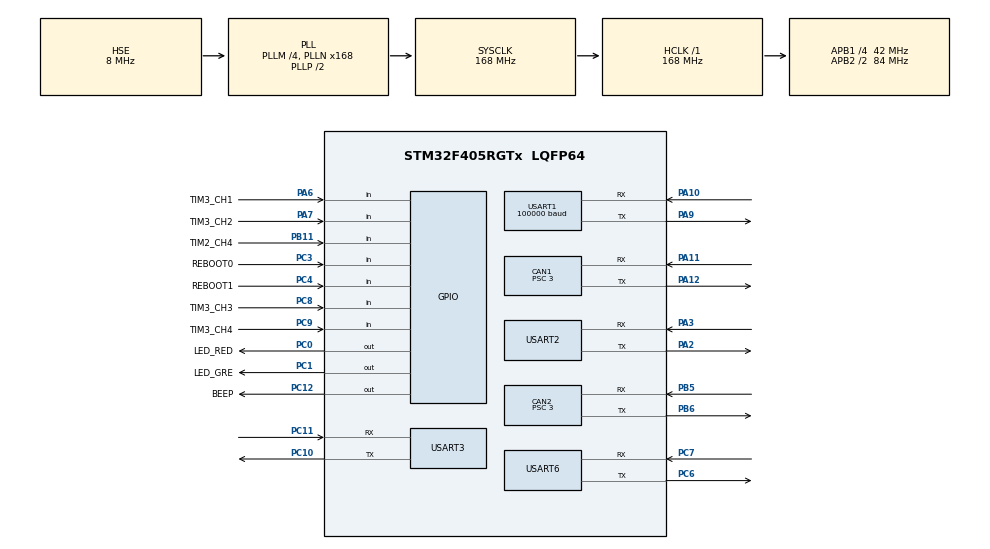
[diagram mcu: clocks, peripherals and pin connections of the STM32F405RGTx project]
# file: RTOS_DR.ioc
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CAN1.BS1=CAN_BS1_7TQ
CAN1.BS2=CAN_BS2_6TQ
CAN1.CalculateTimeQuantum=71.42857142857143
CAN1.Prescaler=3
CAN2.BS1=CAN_BS1_7TQ
CAN2.BS2=CAN_BS2_6TQ
CAN2.CalculateTimeQuantum=71.42857142857143
CAN2.Prescaler=3
Dma.Request0=USART2_RX
Dma.Request1=USART2_TX
Dma.Request2=USART1_RX
Dma.Request3=USART3_RX
Dma.Request4=USART3_TX
Dma.Request5=USART6_RX
Dma.Request6=USART6_TX
Dma.USART1_RX.2.Direction=DMA_PERIPH_TO_MEMORY
Dma.USART1_RX.2.FIFOMode=DMA_FIFOMODE_DISABLE
Dma.USART1_RX.2.Instance=DMA2_Stream2
Dma.USART1_RX.2.MemDataAlignment=DMA_MDATAALIGN_BYTE
Dma.USART1_RX.2.MemInc=DMA_MINC_ENABLE
Dma.USART1_RX.2.Mode=DMA_NORMAL
Dma.USART1_RX.2.PeriphDataAlignment=DMA_PDATAALIGN_BYTE
Dma.USART1_RX.2.PeriphInc=DMA_PINC_DISABLE
Dma.USART1_RX.2.Priority=DMA_PRIORITY_LOW
Dma.USART2_RX.0.Direction=DMA_PERIPH_TO_MEMORY
Dma.USART2_RX.0.FIFOMode=DMA_FIFOMODE_DISABLE
Dma.USART2_RX.0.Instance=DMA1_Stream5
Dma.USART2_RX.0.MemDataAlignment=DMA_MDATAALIGN_BYTE
Dma.USART2_RX.0.MemInc=DMA_MINC_ENABLE
Dma.USART2_RX.0.Mode=DMA_NORMAL
Dma.USART2_RX.0.PeriphDataAlignment=DMA_PDATAALIGN_BYTE
Dma.USART2_RX.0.PeriphInc=DMA_PINC_DISABLE
Dma.USART2_RX.0.Priority=DMA_PRIORITY_LOW
Dma.USART2_TX.1.Direction=DMA_MEMORY_TO_PERIPH
Dma.USART2_TX.1.FIFOMode=DMA_FIFOMODE_DISABLE
Dma.USART2_TX.1.Instance=DMA1_Stream6
Dma.USART2_TX.1.MemDataAlignment=DMA_MDATAALIGN_BYTE
Dma.USART2_TX.1.MemInc=DMA_MINC_ENABLE
Dma.USART2_TX.1.Mode=DMA_NORMAL
Dma.USART2_TX.1.PeriphDataAlignment=DMA_PDATAALIGN_BYTE
Dma.USART2_TX.1.PeriphInc=DMA_PINC_DISABLE
Dma.USART2_TX.1.Priority=DMA_PRIORITY_LOW
Dma.USART3_RX.3.Direction=DMA_PERIPH_TO_MEMORY
Dma.USART3_RX.3.FIFOMode=DMA_FIFOMODE_DISABLE
Dma.USART3_RX.3.Instance=DMA1_Stream1
Dma.USART3_RX.3.MemDataAlignment=DMA_MDATAALIGN_BYTE
Dma.USART3_RX.3.MemInc=DMA_MINC_ENABLE
Dma.USART3_RX.3.Mode=DMA_NORMAL
Dma.USART3_RX.3.PeriphDataAlignment=DMA_PDATAALIGN_BYTE
Dma.USART3_RX.3.PeriphInc=DMA_PINC_DISABLE
Dma.USART3_RX.3.Priority=DMA_PRIORITY_LOW
Dma.USART3_TX.4.Direction=DMA_MEMORY_TO_PERIPH
Dma.USART3_TX.4.FIFOMode=DMA_FIFOMODE_DISABLE
Dma.USART3_TX.4.Instance=DMA1_Stream3
Dma.USART3_TX.4.MemDataAlignment=DMA_MDATAALIGN_BYTE
Dma.USART3_TX.4.MemInc=DMA_MINC_ENABLE
Dma.USART3_TX.4.Mode=DMA_NORMAL
Dma.USART3_TX.4.PeriphDataAlignment=DMA_PDATAALIGN_BYTE
Dma.USART3_TX.4.PeriphInc=DMA_PINC_DISABLE
Dma.USART3_TX.4.Priority=DMA_PRIORITY_LOW
Dma.USART6_RX.5.Direction=DMA_PERIPH_TO_MEMORY
Dma.USART6_RX.5.FIFOMode=DMA_FIFOMODE_DISABLE
Dma.USART6_RX.5.Instance=DMA2_Stream1
Dma.USART6_RX.5.MemDataAlignment=DMA_MDATAALIGN_BYTE
Dma.USART6_RX.5.MemInc=DMA_MINC_ENABLE
Dma.USART6_RX.5.Mode=DMA_NORMAL
Dma.USART6_RX.5.PeriphDataAlignment=DMA_PDATAALIGN_BYTE
Dma.USART6_RX.5.PeriphInc=DMA_PINC_DISABLE
Dma.USART6_RX.5.Priority=DMA_PRIORITY_LOW
Dma.USART6_TX.6.Direction=DMA_MEMORY_TO_PERIPH
Dma.USART6_TX.6.FIFOMode=DMA_FIFOMODE_DISABLE
Dma.USART6_TX.6.Instance=DMA2_Stream6
Dma.USART6_TX.6.MemDataAlignment=DMA_MDATAALIGN_BYTE
Dma.USART6_TX.6.MemInc=DMA_MINC_ENABLE
Dma.USART6_TX.6.Mode=DMA_NORMAL
Dma.USART6_TX.6.PeriphDataAlignment=DMA_PDATAALIGN_BYTE
Dma.USART6_TX.6.PeriphInc=DMA_PINC_DISABLE
Dma.USART6_TX.6.Priority=DMA_PRIORITY_LOW
FREERTOS.Tasks01=defaultTask,-3,128,StartDefaultTask,Default,NULL,Dynamic,NULL,NULL;moveTask,0,128,MoveTask,Default,NULL,Dynamic,NULL,NULL;canSendTask,1,128,CanSendTask,Default,NULL,Dynamic,NULL,NULL;initTask,0,128,InitTask,Default,NULL,Dynamic,NULL,NULL
Mcu.Family=STM32F4
Mcu.Name=STM32F405RGTx
Mcu.Package=LQFP64
NVIC.CAN1_RX0_IRQn=true\:5\:0\:false\:false\:true\:true\:true\:true
NVIC.CAN2_RX0_IRQn=true\:5\:0\:false\:false\:true\:true\:true\:true
NVIC.DMA1_Stream1_IRQn=true\:5\:0\:false\:false\:true\:true\:false\:true
NVIC.DMA1_Stream3_IRQn=true\:5\:0\:false\:false\:true\:true\:false\:true
NVIC.DMA1_Stream5_IRQn=true\:5\:0\:false\:false\:true\:true\:false\:true
NVIC.DMA1_Stream6_IRQn=true\:5\:0\:false\:false\:true\:true\:false\:true
NVIC.DMA2_Stream1_IRQn=true\:5\:0\:false\:false\:true\:true\:false\:true
NVIC.DMA2_Stream2_IRQn=true\:5\:0\:false\:false\:true\:true\:false\:true
NVIC.DMA2_Stream6_IRQn=true\:5\:0\:false\:false\:true\:true\:false\:true
NVIC.PriorityGroup=NVIC_PRIORITYGROUP_4
NVIC.TIM1_UP_TIM10_IRQn=true\:0\:0\:false\:false\:true\:false\:false\:true
NVIC.TIM2_IRQn=true\:5\:0\:false\:false\:true\:true\:true\:true
NVIC.TIM3_IRQn=true\:5\:0\:false\:false\:true\:true\:true\:true
NVIC.TimeBase=TIM1_UP_TIM10_IRQn
NVIC.TimeBaseIP=TIM1
NVIC.USART1_IRQn=true\:5\:0\:false\:false\:true\:true\:true\:true
NVIC.USART2_IRQn=true\:5\:0\:false\:false\:true\:true\:true\:true
NVIC.USART3_IRQn=true\:5\:0\:false\:false\:true\:true\:true\:true
NVIC.USART6_IRQn=true\:5\:0\:false\:false\:true\:true\:true\:true
PA10.Mode=Asynchronous
PA10.Signal=USART1_RX
PA11.Mode=Master
PA11.Signal=CAN1_RX
PA12.Mode=Master
PA12.Signal=CAN1_TX
PA13.Mode=Serial_Wire
PA13.Signal=SYS_JTMS-SWDIO
PA14.Mode=Serial_Wire
PA14.Signal=SYS_JTCK-SWCLK
PA2.Mode=Asynchronous
PA2.Signal=USART2_TX
PA3.Mode=Asynchronous
PA3.Signal=USART2_RX
PA6.GPIO_Label=TIM3_CH1
PA6.Signal=GPIO_Input
PA7.GPIO_Label=TIM3_CH2
PA7.Signal=GPIO_Input
PA9.Mode=Asynchronous
PA9.Signal=USART1_TX
PB11.GPIO_Label=TIM2_CH4
PB11.Signal=GPIO_Input
PB5.Mode=Slave
PB5.Signal=CAN2_RX
PB6.Mode=Slave
PB6.Signal=CAN2_TX
PC0.GPIO_Label=LED_RED
PC0.PinState=GPIO_PIN_RESET
PC0.Signal=GPIO_Output
PC1.GPIO_Label=LED_GRE
PC1.PinState=GPIO_PIN_RESET
PC1.Signal=GPIO_Output
PC10.Mode=Asynchronous
PC10.Signal=USART3_TX
PC11.Mode=Asynchronous
PC11.Signal=USART3_RX
PC12.GPIO_Label=BEEP
PC12.GPIO_PuPd=GPIO_PULLDOWN
PC12.PinState=GPIO_PIN_RESET
PC12.Signal=GPIO_Output
PC3.GPIO_Label=REBOOT0
PC3.GPIO_PuPd=GPIO_PULLUP
PC3.Signal=GPIO_Input
PC4.GPIO_Label=REBOOT1
PC4.GPIO_PuPd=GPIO_PULLUP
PC4.Signal=GPIO_Input
PC6.Mode=Asynchronous
PC6.Signal=USART6_TX
PC7.Mode=Asynchronous
PC7.Signal=USART6_RX
PC8.GPIO_Label=TIM3_CH3
PC8.Signal=GPIO_Input
PC9.GPIO_Label=TIM3_CH4
PC9.GPIO_PuPd=GPIO_NOPULL
PC9.Signal=GPIO_Input
PH0-OSC_IN.Mode=HSE-External-Oscillator
PH0-OSC_IN.Signal=RCC_OSC_IN
PH1-OSC_OUT.Mode=HSE-External-Oscillator
PH1-OSC_OUT.Signal=RCC_OSC_OUT
ProjectManager.HeapSize=0x200
ProjectManager.StackSize=0x400
ProjectManager.TargetToolchain=MDK-ARM V5.27
RCC.48MHZClocksFreq_Value=84000000
RCC.AHBFreq_Value=168000000
RCC.APB1CLKDivider=RCC_HCLK_DIV4
RCC.APB1Freq_Value=42000000
RCC.APB1TimFreq_Value=84000000
RCC.APB2CLKDivider=RCC_HCLK_DIV2
RCC.APB2Freq_Value=84000000
RCC.APB2TimFreq_Value=168000000
RCC.CortexFreq_Value=168000000
RCC.HCLKFreq_Value=168000000
RCC.HSE_VALUE=8000000
RCC.HSI_VALUE=16000000
RCC.LSE_VALUE=32768
RCC.PLLM=4
RCC.PLLN=168
RCC.PLLSourceVirtual=RCC_PLLSOURCE_HSE
RCC.SYSCLKFreq_VALUE=168000000
RCC.SYSCLKSource=RCC_SYSCLKSOURCE_PLLCLK
RCC.VCOOutputFreq_Value=336000000
TIM2.AutoReloadPreload=TIM_AUTORELOAD_PRELOAD_ENABLE
TIM2.Period=499
TIM2.Prescaler=83
TIM3.AutoReloadPreload=TIM_AUTORELOAD_PRELOAD_ENABLE
TIM3.Period=999
TIM3.Prescaler=83
USART1.BaudRate=100000
USART1.Mode=MODE_RX
USART1.Parity=PARITY_EVEN
USART1.VirtualMode=VM_ASYNC
USART1.WordLength=WORDLENGTH_9B
USART2.VirtualMode=VM_ASYNC
USART3.Parity=PARITY_EVEN
USART3.VirtualMode=VM_ASYNC
USART6.Parity=PARITY_EVEN
USART6.VirtualMode=VM_ASYNC
VP_FREERTOS_VS_CMSIS_V1.Mode=CMSIS_V1
VP_IWDG_VS_IWDG.Mode=IWDG_Activate
VP_SYS_VS_tim1.Mode=TIM1
VP_TIM2_VS_ClockSourceINT.Mode=Internal
VP_TIM3_VS_ClockSourceINT.Mode=Internal
board=custom

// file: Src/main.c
/* USER CODE BEGIN Header */
/**
  ******************************************************************************
  * @file           : main.c
  * @brief          : Main program body
  ******************************************************************************
  * @attention
  *
  * <h2><center>&copy; Copyright (c) 2021 STMicroelectronics.
  * All rights reserved.</center></h2>
  *
  * This software component is licensed by ST under BSD 3-Clause license,
  * the "License"; You may not use this file except in compliance with the
  * License. You may obtain a copy of the License at:
  *                        opensource.org/licenses/BSD-3-Clause
  *
  ******************************************************************************
  */
/* USER CODE END Header */

#include "main.h"
#include "cmsis_os.h"
#include "can.h"
#include "dma.h"
#include "iwdg.h"
#include "tim.h"
#include "usart.h"
#include "gpio.h"

/* USER CODE BEGIN Includes */
#include "move.h"
/* USER CODE END Includes */

void SystemClock_Config(void);
void MX_FREERTOS_Init(void);

/* USER CODE BEGIN 0 */
uint32_t sysclock = 0;
/* USER CODE END 0 */

int main(void)
{

  /* MCU Configuration--------------------------------------------------------*/

  /* Reset of all peripherals, Initializes the Flash interface and the Systick. */
  HAL_Init();

  /* Configure the system clock */
  SystemClock_Config();

  /* USER CODE BEGIN SysInit */
	sysclock = HAL_RCC_GetSysClockFreq();
  /* USER CODE END SysInit */

  /* Initialize all configured peripherals */
  MX_GPIO_Init();
  MX_DMA_Init();
  MX_CAN1_Init();
  MX_CAN2_Init();
  MX_TIM2_Init();
  MX_USART1_UART_Init();
  MX_USART2_UART_Init();
  MX_USART3_UART_Init();
  MX_USART6_UART_Init();
  MX_TIM3_Init();
  MX_IWDG_Init();
  /* USER CODE BEGIN 2 */
	CAN_Start_IT(&hcan1);							//CAN接收中断和过滤器配置
	//CAN_Start_IT(&hcan2);
	//HAL_TIM_Base_Start_IT(&htim2);
	HAL_TIM_Base_Start_IT(&htim3);		//定时器
	Usart_All_Init();									//DMA串口初始化
	BASE_Init();											//舵轮底盘初始化
  /* USER CODE END 2 */

  /* Call init function for freertos objects (in freertos.c) */
  MX_FREERTOS_Init();
  /* Start scheduler */
  osKernelStart();

  /* We should never get here as control is now taken by the scheduler */
  /* Infinite loop */
  while (1)
  {

  }
}

void SystemClock_Config(void)
{
  RCC_OscInitTypeDef RCC_OscInitStruct = {0};
  RCC_ClkInitTypeDef RCC_ClkInitStruct = {0};

  /** Configure the main internal regulator output voltage
  */
  __HAL_RCC_PWR_CLK_ENABLE();
  __HAL_PWR_VOLTAGESCALING_CONFIG(PWR_REGULATOR_VOLTAGE_SCALE1);
  /** Initializes the CPU, AHB and APB busses clocks
  */
  RCC_OscInitStruct.OscillatorType = RCC_OSCILLATORTYPE_LSI|RCC_OSCILLATORTYPE_HSE;
  RCC_OscInitStruct.HSEState = RCC_HSE_ON;
  RCC_OscInitStruct.LSIState = RCC_LSI_ON;
  RCC_OscInitStruct.PLL.PLLState = RCC_PLL_ON;
  RCC_OscInitStruct.PLL.PLLSource = RCC_PLLSOURCE_HSE;
  RCC_OscInitStruct.PLL.PLLM = 4;
  RCC_OscInitStruct.PLL.PLLN = 168;
  RCC_OscInitStruct.PLL.PLLP = RCC_PLLP_DIV2;
  RCC_OscInitStruct.PLL.PLLQ = 4;
  if (HAL_RCC_OscConfig(&RCC_OscInitStruct) != HAL_OK)
  {
    Error_Handler();
  }
  /** Initializes the CPU, AHB and APB busses clocks
  */
  RCC_ClkInitStruct.ClockType = RCC_CLOCKTYPE_HCLK|RCC_CLOCKTYPE_SYSCLK
                              |RCC_CLOCKTYPE_PCLK1|RCC_CLOCKTYPE_PCLK2;
  RCC_ClkInitStruct.SYSCLKSource = RCC_SYSCLKSOURCE_PLLCLK;
  RCC_ClkInitStruct.AHBCLKDivider = RCC_SYSCLK_DIV1;
  RCC_ClkInitStruct.APB1CLKDivider = RCC_HCLK_DIV4;
  RCC_ClkInitStruct.APB2CLKDivider = RCC_HCLK_DIV2;

  if (HAL_RCC_ClockConfig(&RCC_ClkInitStruct, FLASH_LATENCY_5) != HAL_OK)
  {
    Error_Handler();
  }
}

 /**
  * @brief  Period elapsed callback in non blocking mode
  * @note   This function is called  when TIM1 interrupt took place, inside
  * HAL_TIM_IRQHandler(). It makes a direct call to HAL_IncTick() to increment
  * a global variable "uwTick" used as application time base.
  * @param  htim : TIM handle
  * @retval None
  */
void HAL_TIM_PeriodElapsedCallback(TIM_HandleTypeDef *htim)
{
  if (htim->Instance == TIM1) {
    HAL_IncTick();
  }
}

void Error_Handler(void)
{
}

/************************ (C) COPYRIGHT STMicroelectronics *****END OF FILE****/

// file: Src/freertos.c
/* USER CODE BEGIN Header */
/**
  ******************************************************************************
  * File Name          : freertos.c
  * Description        : Code for freertos applications
  ******************************************************************************
  * @attention
  *
  * <h2><center>&copy; Copyright (c) 2021 STMicroelectronics.
  * All rights reserved.</center></h2>
  *
  * This software component is licensed by ST under Ultimate Liberty license
  * SLA0044, the "License"; You may not use this file except in compliance with
  * the License. You may obtain a copy of the License at:
  *                             www.st.com/SLA0044
  *
  ******************************************************************************
  */
/* USER CODE END Header */

#include "FreeRTOS.h"
#include "task.h"
#include "main.h"
#include "cmsis_os.h"

/* USER CODE BEGIN Includes */
#include "move.h"
#include "led.h"
/* USER CODE END Includes */

/* USER CODE BEGIN PD */
#define CAN_TXMESSAGEINDEXMAX 9
/* USER CODE END PD */

/* USER CODE BEGIN Variables */
Can_TxMessageTypeDef CanTxMessageList[CAN_TXMESSAGEINDEXMAX+1]={{0x200,0,0,0,8,DISABLE}};
extern ROBO_BASE Robo_Base;
/* USER CODE END Variables */
osThreadId defaultTaskHandle;
osThreadId moveTaskHandle;
osThreadId canSendTaskHandle;
osThreadId initTaskHandle;

void StartDefaultTask(void const * argument);
void MoveTask(void const * argument);
void CanSendTask(void const * argument);
void InitTask(void const * argument);

void MX_FREERTOS_Init(void); /* (MISRA C 2004 rule 8.1) */

/* GetIdleTaskMemory prototype (linked to static allocation support) */
void vApplicationGetIdleTaskMemory( StaticTask_t **ppxIdleTaskTCBBuffer, StackType_t **ppxIdleTaskStackBuffer, uint32_t *pulIdleTaskStackSize );

/* USER CODE BEGIN GET_IDLE_TASK_MEMORY */
static StaticTask_t xIdleTaskTCBBuffer;
static StackType_t xIdleStack[configMINIMAL_STACK_SIZE];

void vApplicationGetIdleTaskMemory( StaticTask_t **ppxIdleTaskTCBBuffer, StackType_t **ppxIdleTaskStackBuffer, uint32_t *pulIdleTaskStackSize )
{
  *ppxIdleTaskTCBBuffer = &xIdleTaskTCBBuffer;
  *ppxIdleTaskStackBuffer = &xIdleStack[0];
  *pulIdleTaskStackSize = configMINIMAL_STACK_SIZE;
  /* place for user code */
}
/* USER CODE END GET_IDLE_TASK_MEMORY */

void MX_FREERTOS_Init(void) {

  /* Create the thread(s) */
  /* definition and creation of defaultTask */
  osThreadDef(defaultTask, StartDefaultTask, osPriorityIdle, 0, 128);
  defaultTaskHandle = osThreadCreate(osThread(defaultTask), NULL);

  /* definition and creation of moveTask */
  osThreadDef(moveTask, MoveTask, osPriorityNormal, 0, 128);
  moveTaskHandle = osThreadCreate(osThread(moveTask), NULL);

  /* definition and creation of canSendTask */
  osThreadDef(canSendTask, CanSendTask, osPriorityAboveNormal, 0, 128);
  canSendTaskHandle = osThreadCreate(osThread(canSendTask), NULL);

  /* definition and creation of initTask */
  osThreadDef(initTask, InitTask, osPriorityNormal, 0, 128);
  initTaskHandle = osThreadCreate(osThread(initTask), NULL);

  /* USER CODE BEGIN RTOS_THREADS */
  /* add threads, ... */
	vTaskSuspend(moveTaskHandle);
  /* USER CODE END RTOS_THREADS */

}

void StartDefaultTask(void const * argument)
{
  /* USER CODE BEGIN StartDefaultTask */
	extern IWDG_HandleTypeDef hiwdg;
	static uint8_t Suspend_Flag=1;

  /* Infinite loop */
  for(;;)
  {
		HAL_IWDG_Refresh(&hiwdg);
		//Base_WatchDog();
		Led_Task();
		if((Robo_Base.Error_State != 0) && Suspend_Flag){
			vTaskSuspend(canSendTaskHandle);
			if(Robo_Base.Working_State == 5) vTaskSuspend(moveTaskHandle);
			else if(Robo_Base.Working_State == 3) vTaskSuspend(initTaskHandle);
			Suspend_Flag = RESET;
		}if((Robo_Base.Error_State == 0) && !Suspend_Flag){
			vTaskResume(canSendTaskHandle);
			if(Robo_Base.Working_State == 5) vTaskResume(moveTaskHandle);
			else if(Robo_Base.Working_State == 3) vTaskResume(initTaskHandle);
			Suspend_Flag = SET;
		}osDelay(1);
  }
  /* USER CODE END StartDefaultTask */
}

void MoveTask(void const * argument)
{
  /* USER CODE BEGIN MoveTask */
	Robo_Base.Working_State = 0x5;
  /* Infinite loop */
  for(;;)
  {
		Move_Analysis();
		Can_TxMessageCal();
    osDelay(1);
  }
  /* USER CODE END MoveTask */
}

void CanSendTask(void const * argument)
{
  /* USER CODE BEGIN CanSendTask */
	int i = 0;
  /* Infinite loop */
  for(;;)
  {
		for(i = 0;i < CAN_TXMESSAGEINDEXMAX;i++) if(CanTxMessageList[i].Update != 0) Can_Send(&hcan1,&CanTxMessageList[i]);
		osDelay(1);
  }
  /* USER CODE END CanSendTask */
}

void InitTask(void const * argument)
{
  /* USER CODE BEGIN InitTask */
	Robo_Base.Working_State = 0x3;
  /* Infinite loop */
  for(;;)
  {
		if(
//			Robo_Base.LF._Axis->Protect.State == WORKING && Robo_Base.LF._Pos.Protect.State == WORKING
			Robo_Base.LB._Axis->Protect.State==WORKING//&&Robo_Base.LB._Pos.Protect.State==WORKING
//			Robo_Base.RF._Axis->Protect.State==WORKING&&Robo_Base.RF._Pos.Protect.State==WORKING
//			Robo_Base.RB._Axis->Protect.State==WORKING&&Robo_Base.RB._Pos.Protect.State==WORKING
		){
			vTaskResume(moveTaskHandle);
			vTaskSuspend(initTaskHandle);
		}else{
			Pos_CloseLoop_Init(&Robo_Base.LF._Pos);
			Pos_CloseLoop_Init(&Robo_Base.LB._Pos);
			Pos_CloseLoop_Init(&Robo_Base.RF._Pos);
			Pos_CloseLoop_Init(&Robo_Base.RB._Pos);
//			Axis_CloseLoop_Init(Robo_Base.LF._Axis);
			Axis_CloseLoop_Init(Robo_Base.LB._Axis);
//			Axis_CloseLoop_Init(Robo_Base.RF._Axis);
//			Axis_CloseLoop_Init(Robo_Base.RB._Axis);
		}osDelay(1);
  }
  /* USER CODE END InitTask */
}

/************************ (C) COPYRIGHT STMicroelectronics *****END OF FILE****/
